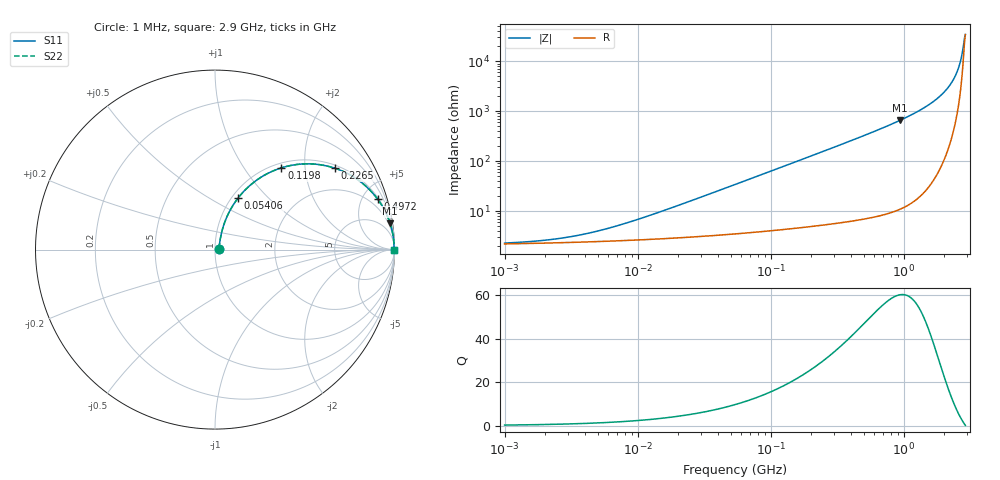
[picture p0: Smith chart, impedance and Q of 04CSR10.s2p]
# MHz  S  MA  R  50
!Freq  MagS11  AngS11  MagS21  AngS21  MagS12  AngS12  MagS22  AngS22
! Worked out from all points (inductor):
!   803 points, 1 MHz to 2.9 GHz, reference 50 ohm
!   read as one part in series: L = 100 nH near 13.16 MHz
!   highest Q = 60.2 at 940 MHz (marker M1), where L = 112 nH
!   S11 on the Smith chart (normalised r, x): 1 MHz: 1.04, +0.01; 54.06 MHz: 1.07, +0.68; 119.8 MHz: 1.08, +1.51; 226.5 MHz: 1.10, +2.86; 497.2 MHz: 1.14, +6.44; 2.9 GHz: open
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1  0.02242 15.6  0.9784 -0.4  0.9784 -0.4  0.02242 15.6
2.06757  0.02575 28.8  0.9775 -0.7  0.9775 -0.7  0.02575 28.8
3.79371  0.033 43.5  0.9763 -1.3  0.9763 -1.3  0.033 43.5
6.89202  0.04889 57.3  0.9744 -2.4  0.9744 -2.4  0.04889 57.3
14.39223  0.09168 67.9  0.9693 -5.0  0.9693 -5.0  0.09168 67.9
28.31272  0.1726 70.4  0.956 -9.8  0.956 -9.8  0.1726 70.4
54.05936  0.3136 66.0  0.918 -18.2  0.918 -18.2  0.3136 66.0
80.48702  0.4394 59.7  0.8658 -26.0  0.8658 -26.0  0.4394 59.7
119.8342  0.5871 50.9  0.7773 -35.9  0.7773 -35.9  0.5871 50.9
205.0855  0.7775 36.8  0.5999 -51.0  0.5999 -51.0  0.7775 36.8
226.542  0.8067 34.2  0.5629 -53.7  0.5629 -53.7  0.8067 34.2
333.9506  0.8956 24.9  0.421 -63.5  0.421 -63.5  0.8956 24.9
497.207  0.9492 17.1  0.2949 -71.6  0.2949 -71.6  0.9492 17.1
770.3316  0.9789 10.8  0.188 -78.2  0.188 -78.2  0.9789 10.8
939.9509  0.9863 8.6  0.1495 -80.5  0.1495 -80.5  0.9863 8.6
1561.332  0.9957 4.1  0.07222 -84.5  0.07222 -84.5  0.9957 4.1
1867.583  0.997 2.9  0.04992 -85.1  0.04992 -85.1  0.997 2.9
2146.739  0.9975 1.9  0.03369 -84.8  0.03369 -84.8  0.9975 1.9
2371.335  0.9976 1.3  0.02253 -83.2  0.02253 -83.2  0.9976 1.3
2567.816  0.9975 0.8  0.01383 -79.2  0.01383 -79.2  0.9975 0.8
2672.08  0.9974 0.5  0.009605 -74.1  0.009605 -74.1  0.9974 0.5
2900  0.9971 0.0  0.002905 -6.6  0.002905 -6.6  0.9971 0.0
